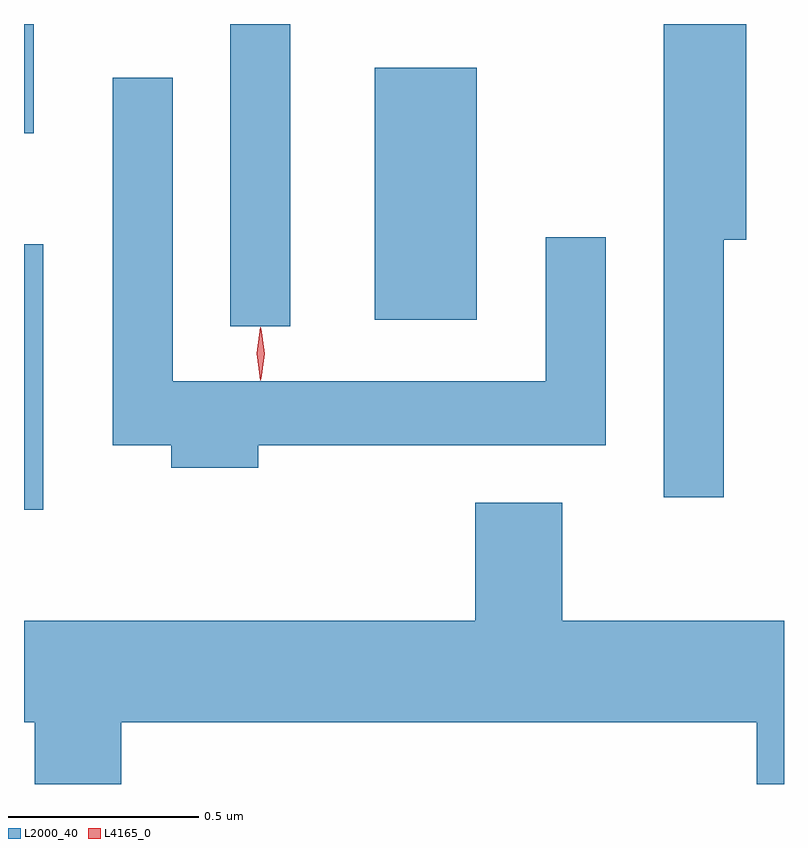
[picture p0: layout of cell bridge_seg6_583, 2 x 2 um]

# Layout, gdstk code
import gdstk
lib = gdstk.Library(unit=1e-6, precision=1e-09)
def R(c, l, rs):  # rectangles x0, y0, x1, y1
    for r in rs: c.add(gdstk.rectangle(r[:2], r[2:], *l))
def P(c, l, *ps):  # polygons
    for p in ps: c.add(gdstk.Polygon(p, *l))
L2000_40 = (2000, 40)
L4165_0 = (4165, 0)

bridge_seg6_583 = lib.new_cell('bridge_seg6_583')
R(bridge_seg6_583, L2000_40, [(446.323,1637.176,446.374,1637.874), (446.866,1637.658,447.024,1638.454), (447.246,1637.676,447.514,1638.339), (446.323,1638.166,446.349,1638.454)])
P(bridge_seg6_583, L2000_40, [(448.164,1637.886),(448.224,1637.886),(448.224,1638.454),(448.006,1638.454),(448.006,1637.208),(448.164,1637.208)],
  [(446.939,1637.346),(447.854,1637.346),(447.854,1637.893),(447.696,1637.893),(447.696,1637.514),(446.714,1637.514),(446.714,1638.313),(446.556,1638.313),(446.556,1637.346),(446.711,1637.346),(446.711,1637.286),(446.939,1637.286)],
  [(446.579,1636.616),(448.251,1636.616),(448.251,1636.454),(448.323,1636.454),(448.323,1636.884),(447.739,1636.884),(447.739,1637.194),(447.511,1637.194),(447.511,1636.884),(446.323,1636.884),(446.323,1636.616),(446.351,1636.616),(446.351,1636.454),(446.579,1636.454)])
P(bridge_seg6_583, L4165_0, [(446.945,1637.517),(446.945,1637.517),(446.935,1637.587),(446.945,1637.656),(446.945,1637.656),(446.946,1637.656),(446.955,1637.587),(446.946,1637.517)],
  [(446.946,1637.52),(446.946,1637.52),(446.936,1637.586),(446.946,1637.652),(446.946,1637.653),(446.947,1637.652),(446.956,1637.586),(446.947,1637.52)])

lib.write_gds('bridge_seg6_583.gds')
